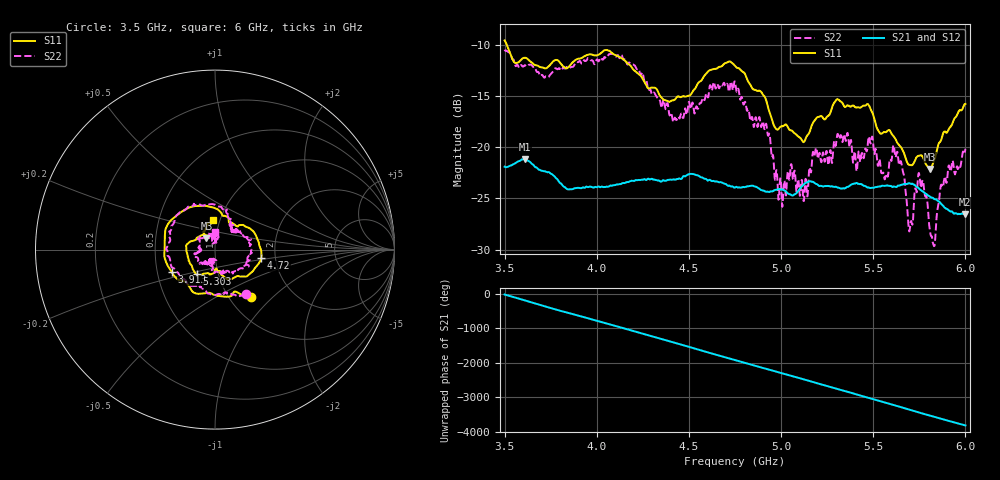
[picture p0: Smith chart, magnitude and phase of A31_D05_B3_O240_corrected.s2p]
! Created with skrf 1.9.0 (http://scikit-rf.org).
# Hz S RI R 50.0
!freq ReS11 ImS11 ReS21 ImS21 ReS12 ImS12 ReS22 ImS22
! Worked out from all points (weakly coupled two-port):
!   1601 points, 3.5 GHz to 6 GHz, reference 50 ohm
!   highest |S21| = -21.17 dB at 3.609 GHz (marker M1); lowest = -26.6 dB at 5.997 GHz (marker M2)
!   lowest |S11| = -22.1 dB at 5.808 GHz (marker M3), VSWR 1.17, Z = 45.1 + j5.64 ohm
!   |S11| at or under -10 dB: 3.512 GHz to end of sweep
!   |S22| runs from -29.7 to -10.5 dB; largest |S21 - S12| = 0.0009
!   S11 on the Smith chart (normalised r, x): 3.5 GHz: 1.26, -0.75; 3.913 GHz: 0.60, -0.16; 4.72 GHz: 1.69, -0.17; 5.303 GHz: 0.79, -0.22; 6 GHz: 0.93, +0.31
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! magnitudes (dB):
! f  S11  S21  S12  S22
! 3.5 GHz  -9.6  -21.9  -21.9  -10.5
! 3.609 GHz  -11.3  -21.2  -21.2  -12.0
! 3.913 GHz  -11.3  -24.0  -24.0  -11.7
! 3.917 GHz  -11.3  -24.0  -24.0  -11.8
! 4.127 GHz  -11.2  -23.6  -23.6  -11.3
! 4.334 GHz  -14.7  -23.2  -23.2  -15.3
! 4.423 GHz  -15.3  -23.2  -23.1  -17.1
! 4.72 GHz  -11.6  -23.8  -23.8  -14.5
! 4.75 GHz  -12.0  -24.0  -23.9  -13.6
! 4.928 GHz  -16.0  -24.3  -24.3  -18.8
! 4.997 GHz  -18.0  -24.1  -24.1  -23.1
! 5.133 GHz  -19.2  -23.5  -23.5  -23.1
! 5.167 GHz  -17.8  -23.4  -23.3  -21.5
! 5.303 GHz  -15.3  -23.9  -23.9  -18.9
! 5.584 GHz  -18.3  -23.8  -23.7  -22.1
! 5.642 GHz  -19.8  -23.8  -23.7  -21.7
! 5.702 GHz  -21.7  -23.6  -23.5  -27.5
! 5.758 GHz  -20.8  -24.2  -24.1  -23.9
! 5.808 GHz  -22.1  -24.8  -24.8  -28.2
! 5.827 GHz  -21.5  -25.0  -25.0  -29.5
! 5.997 GHz  -15.8  -26.6  -26.5  -20.5
! 6 GHz  -15.8  -26.5  -26.5  -20.2
